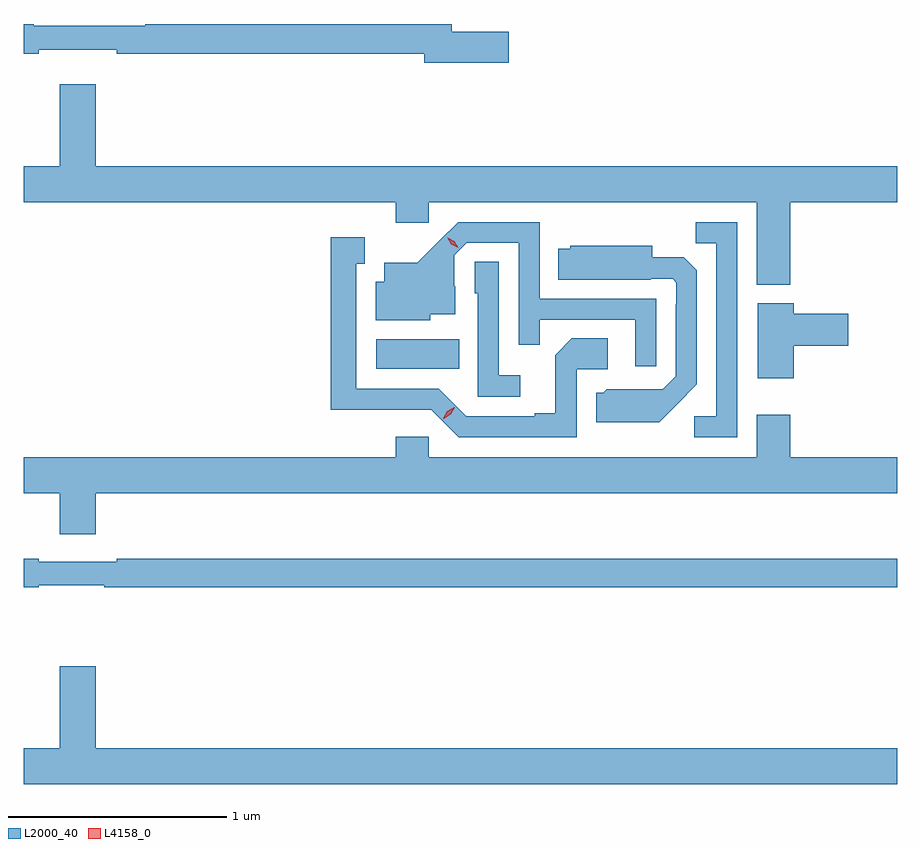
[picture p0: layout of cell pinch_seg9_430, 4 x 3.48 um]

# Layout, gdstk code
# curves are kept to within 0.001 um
import gdstk
lib = gdstk.Library(unit=1e-6, precision=1e-09)
def R(c, l, rs):  # rectangles x0, y0, x1, y1
    for r in rs: c.add(gdstk.rectangle(r[:2], r[2:], *l))
def P(c, l, *ps):  # polygons
    for p in ps: c.add(gdstk.Polygon(p, *l))
L2000_40 = (2000, 40)
L4158_0 = (4158, 0)

pinch_seg9_430 = lib.new_cell('pinch_seg9_430')
R(pinch_seg9_430, L2000_40, [(238.386,1227.626,238.766,1227.76)])
P(pinch_seg9_430, L2000_40, [(238.993,1229.168),(238.732,1229.168),(238.732,1229.204),(237.328,1229.204),(237.328,1229.197),(236.816,1229.197),(236.816,1229.204),(236.771,1229.204),(236.771,1229.068),(236.84,1229.068),(236.84,1229.087),(237.196,1229.087),(237.196,1229.068),(238.604,1229.068),(238.604,1229.026),(238.993,1229.026)],
  [(240.281,1228.388),(240.771,1228.388),(240.771,1228.552),(237.1,1228.552),(237.1,1228.927),(236.936,1228.927),(236.936,1228.552),(236.771,1228.552),(236.771,1228.388),(238.475,1228.388),(238.475,1228.293),(238.626,1228.293),(238.626,1228.388),(240.128,1228.388),(240.128,1228.01),(240.281,1228.01)],
  [(239.667,1227.945),(239.133,1227.945),(239.133,1228.296),(238.76,1228.296),(238.573,1228.111),(238.421,1228.111),(238.421,1228.024),(238.382,1228.024),(238.382,1227.848),(238.632,1227.848),(238.632,1227.875),(238.747,1227.875),(238.747,1228.004),(238.743,1228.004),(238.743,1228.146),(238.8,1228.203),(239.037,1228.203),(239.037,1227.736),(239.135,1227.736),(239.135,1227.849),(239.571,1227.849),(239.571,1227.636),(239.667,1227.636)],
  [(240.039,1228.296),(239.848,1228.296),(239.848,1228.201),(239.943,1228.201),(239.943,1227.408),(239.841,1227.408),(239.841,1227.312),(240.039,1227.312)],
  [(239.304,1227.624),(239.446,1227.624),(239.446,1227.764),(239.281,1227.764),(239.205,1227.688),(239.205,1227.421),(239.111,1227.421),(239.111,1227.408),(238.797,1227.408),(238.671,1227.534),(238.294,1227.534),(238.294,1228.107),(238.333,1228.107),(238.333,1228.228),(238.176,1228.228),(238.176,1227.437),(238.638,1227.438),(238.764,1227.312),(239.304,1227.312)],
  [(239.761,1227.461),(239.853,1227.554),(239.853,1228.076),(239.794,1228.135),(239.65,1228.135),(239.65,1228.189),(239.274,1228.189),(239.274,1228.174),(239.218,1228.174),(239.218,1228.034),(239.642,1228.034),(239.642,1228.038),(239.742,1228.038),(239.76,1228.02),(239.76,1227.92),(239.757,1227.92),(239.757,1227.591),(239.697,1227.531),(239.44,1227.532),(239.424,1227.516),(239.393,1227.516),(239.393,1227.38),(239.681,1227.38)],
  [(239.044,1227.595),(238.947,1227.595),(238.947,1228.115),(238.836,1228.115),(238.836,1227.972),(238.851,1227.972),(238.851,1227.498),(239.044,1227.498)],
  [(240.298,1227.731),(240.547,1227.731),(240.547,1227.878),(240.298,1227.878),(240.298,1227.925),(240.131,1227.925),(240.131,1227.582),(240.298,1227.582)],
  [(237.1,1227.056),(240.771,1227.056),(240.771,1227.22),(240.281,1227.22),(240.281,1227.415),(240.128,1227.415),(240.128,1227.22),(238.626,1227.22),(238.626,1227.313),(238.475,1227.313),(238.475,1227.22),(236.771,1227.22),(236.771,1227.056),(236.936,1227.056),(236.936,1226.868),(237.1,1226.868)],
  [(236.84,1226.634),(237.14,1226.634),(237.14,1226.626),(240.771,1226.626),(240.771,1226.755),(237.196,1226.755),(237.196,1226.742),(236.84,1226.742),(236.84,1226.755),(236.771,1226.755),(236.771,1226.626),(236.84,1226.626)],
  [(240.771,1225.888),(237.1,1225.888),(237.1,1226.263),(236.936,1226.263),(236.936,1225.888),(236.771,1225.888),(236.771,1225.724),(240.771,1225.724)])
P(pinch_seg9_430, L4158_0, [(238.693,1227.397),(238.693,1227.398),(238.711,1227.43),(238.743,1227.448),(238.744,1227.448),(238.744,1227.448),(238.726,1227.416),(238.694,1227.397)],
  [(238.76,1228.179),(238.729,1228.195),(238.712,1228.224),(238.712,1228.225),(238.712,1228.225),(238.743,1228.209),(238.76,1228.179),(238.76,1228.179)])

lib.write_gds('pinch_seg9_430.gds')
